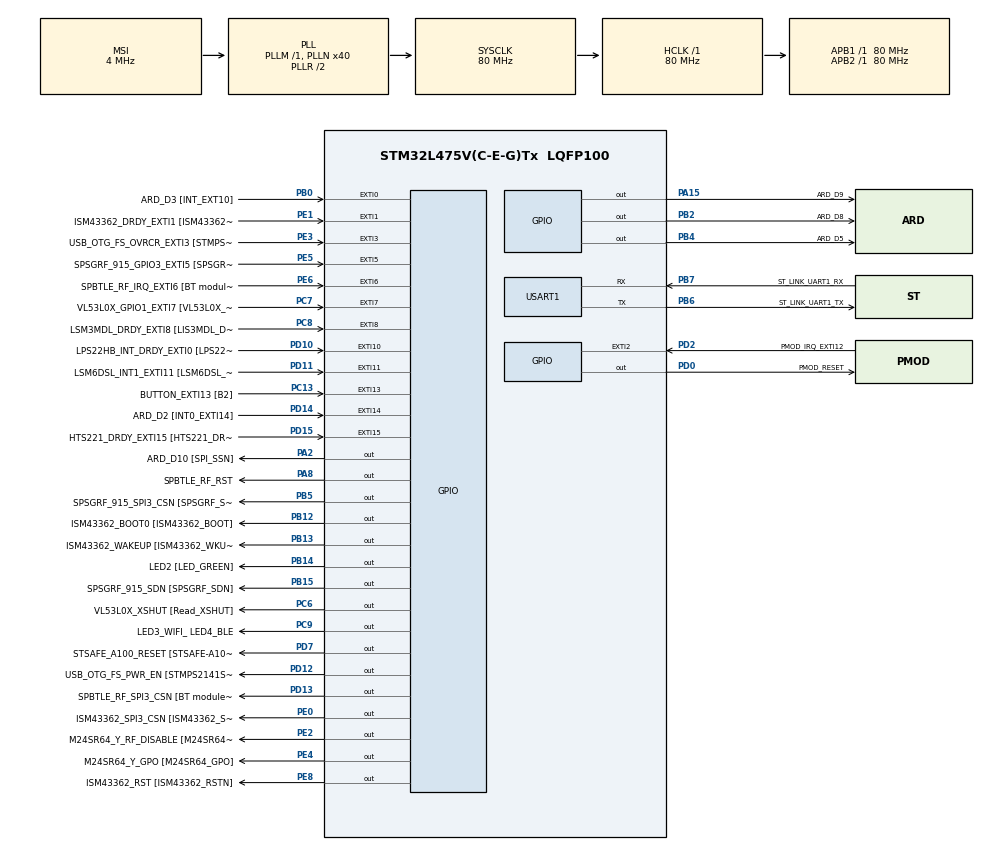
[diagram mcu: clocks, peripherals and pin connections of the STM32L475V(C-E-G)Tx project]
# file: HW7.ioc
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Mcu.Family=STM32L4
Mcu.Name=STM32L475V(C-E-G)Tx
Mcu.Package=LQFP100
NVIC.EXTI15_10_IRQn=true\:0\:0\:false\:false\:true\:true\:true\:true
NVIC.EXTI9_5_IRQn=true\:0\:0\:false\:false\:true\:true\:true\:true
NVIC.PriorityGroup=NVIC_PRIORITYGROUP_4
PA0.GPIO_Label=ARD_D1 [UART4_TX]
PA0.Signal=UART4_TX
PA1.GPIO_Label=ARD_D0 [UART4_RX]
PA1.Signal=UART4_RX
PA10.GPIO_Label=USB_OTG_FS_ID
PA10.Signal=USB_OTG_FS_ID
PA11.GPIO_Label=USB_OTG_FS_DM
PA11.Signal=USB_OTG_FS_DM
PA12.GPIO_Label=USB_OTG_FS_DP
PA12.Signal=USB_OTG_FS_DP
PA13\ (JTMS-SWDIO).GPIO_Label=SYS_JTMS_SWDIO
PA13\ (JTMS-SWDIO).Signal=SYS_JTMS-SWDIO
PA14\ (JTCK-SWCLK).GPIO_Label=SYS_JTCK_SWCLK
PA14\ (JTCK-SWCLK).Signal=SYS_JTCK-SWCLK
PA15\ (JTDI).GPIO_Label=ARD_D9
PA15\ (JTDI).Signal=GPIO_Output
PA2.GPIO_Label=ARD_D10 [SPI_SSN]
PA2.Signal=GPIO_Output
PA3.GPIO_Label=ARD_D4
PA3.Signal=S_TIM2_CH4
PA4.GPIO_Label=ARD_D7
PA4.Signal=ADCx_IN9
PA5.GPIO_Label=ARD_D13 [SPI1_SCK]
PA5.Signal=SPI1_SCK
PA6.GPIO_Label=ARD_D12 [SPI1_MISO]
PA6.Signal=SPI1_MISO
PA7.GPIO_Label=ARD_D11 [SPI1_MOSI]
PA7.Signal=SPI1_MOSI
PA8.GPIO_Label=SPBTLE_RF_RST
PA8.Signal=GPIO_Output
PA9.GPIO_Label=USB_OTG_FS_VBUS [STMPS2141STR_OUT]
PA9.Signal=USB_OTG_FS_VBUS
PB0.GPIO_Label=ARD_D3 [INT_EXT10]
PB0.Signal=GPXTI0
PB1.GPIO_Label=ARD_D6 [ADC1_IN6]
PB1.Signal=ADCx_IN16
PB10.GPIO_Label=INTERNAL_I2C2_SCL [VL53L0X_SCL]
PB10.Signal=I2C2_SCL
PB11.GPIO_Label=INTERNAL_I2C2_SDA [VL53L0X_SDA]
PB11.Signal=I2C2_SDA
PB12.GPIO_Label=ISM43362_BOOT0 [ISM43362_BOOT]
PB12.Signal=GPIO_Output
PB13.GPIO_Label=ISM43362_WAKEUP [ISM43362_WKUP]
PB13.Signal=GPIO_Output
PB14.GPIO_Label=LED2 [LED_GREEN]
PB14.Signal=GPIO_Output
PB15.GPIO_Label=SPSGRF_915_SDN [SPSGRF_SDN]
PB15.Signal=GPIO_Output
PB2.GPIO_Label=ARD_D8
PB2.Signal=GPIO_Output
PB3\ (JTDO-TRACESWO).GPIO_Label=SYS_JTD0_SWO
PB3\ (JTDO-TRACESWO).Signal=SYS_JTDO-SWO
PB4\ (NJTRST).GPIO_Label=ARD_D5
PB4\ (NJTRST).Signal=GPIO_Output
PB5.GPIO_Label=SPSGRF_915_SPI3_CSN [SPSGRF_SPI_CS]
PB5.PinState=GPIO_PIN_SET
PB5.Signal=GPIO_Output
PB6.GPIO_Label=ST_LINK_UART1_TX
PB6.Mode=Asynchronous
PB6.Signal=USART1_TX
PB7.GPIO_Label=ST_LINK_UART1_RX
PB7.Mode=Asynchronous
PB7.Signal=USART1_RX
PB8.GPIO_Label=ARD_D15 [I2C1_SCL]
PB8.Signal=I2C1_SCL
PB9.GPIO_Label=ARD_D14 [I2C1_SDA]
PB9.Signal=I2C1_SDA
PC0.GPIO_Label=ARD_A5 [ADC]
PC0.Signal=ADCx_IN1
PC1.GPIO_Label=ARD_A4 [ADC]
PC1.Signal=ADCx_IN2
PC10.GPIO_Label=INTERNAL_SPI3_SCK [BT module_SPI_SCLK] [ISM43362_SCK]
PC10.Signal=SPI3_SCK
PC11.GPIO_Label=INTERNAL_SPI3_MISO [BT module_SPI_MISO] [ISM43362_MISO]
PC11.Signal=SPI3_MISO
PC12.GPIO_Label=INTERNAL_SPI3_MOSI [BT module_SPI_MOSI] [ISM43362_MOSI]
PC12.Signal=SPI3_MOSI
PC13.GPIO_Label=BUTTON_EXTI13 [B2]
PC13.GPIO_ModeDefaultEXTI=GPIO_MODE_IT_FALLING
PC13.Signal=GPXTI13
PC14-OSC32_IN\ (PC14).Signal=RCC_OSC32_IN
PC15-OSC32_OUT\ (PC15).Signal=RCC_OSC32_OUT
PC2.GPIO_Label=ARD_A3 [ADC]
PC2.Signal=ADCx_IN3
PC3.GPIO_Label=ARD_A2 [ADC]
PC3.Signal=ADCx_IN4
PC4.GPIO_Label=ARD_A1 [ADC]
PC4.Signal=ADCx_IN13
PC5.GPIO_Label=ARD_A0 [ADC]
PC5.Signal=ADCx_IN14
PC6.GPIO_Label=VL53L0X_XSHUT [Read_XSHUT]
PC6.Signal=GPIO_Output
PC7.GPIO_Label=VL53L0X_GPIO1_EXTI7 [VL53L0X_GPIO1]
PC7.Signal=GPXTI7
PC8.GPIO_Label=LSM3MDL_DRDY_EXTI8 [LIS3MDL_DRDY]
PC8.Signal=GPXTI8
PC9.GPIO_Label=LED3_WIFI_ LED4_BLE
PC9.Signal=GPIO_Output
PD0.GPIO_Label=PMOD_RESET
PD0.Signal=GPIO_Output
PD1.GPIO_Label=PMOD_SPI2_SCK
PD1.Signal=SPI2_SCK
PD10.GPIO_Label=LPS22HB_INT_DRDY_EXTI0 [LPS22HB_INT_DRDY] 
PD10.Signal=GPXTI10
PD11.GPIO_Label=LSM6DSL_INT1_EXTI11 [LSM6DSL_INT1]
PD11.Signal=GPXTI11
PD12.GPIO_Label=USB_OTG_FS_PWR_EN [STMPS2141STR_EN]
PD12.Signal=GPIO_Output
PD13.GPIO_Label=SPBTLE_RF_SPI3_CSN [BT module_SPI_CS]
PD13.PinState=GPIO_PIN_SET
PD13.Signal=GPIO_Output
PD14.GPIO_Label=ARD_D2 [INT0_EXTI14]
PD14.Signal=GPXTI14
PD15.GPIO_Label=HTS221_DRDY_EXTI15 [HTS221_DRDY]
PD15.Signal=GPXTI15
PD2.GPIO_Label=PMOD_IRQ_EXTI12
PD2.Signal=GPXTI2
PD3.GPIO_Label=PMOD_UART2_CTS
PD3.Signal=USART2_CTS
PD4.GPIO_Label=PMOD_UART2_RTS
PD4.Signal=USART2_RTS
PD5.GPIO_Label=PMOD_UART2_TX
PD5.Signal=USART2_TX
PD6.GPIO_Label=PMOD_UART2_RX
PD6.Signal=USART2_RX
PD7.GPIO_Label=STSAFE_A100_RESET [STSAFE-A100_RESET]
PD7.Signal=GPIO_Output
PD8.GPIO_Label=INTERNAL_UART3_TX [ISM43362_RX]
PD8.Signal=USART3_TX
PD9.GPIO_Label=INTERNAL_UART3_RX [ISM43362_TX]
PD9.Signal=USART3_RX
PE0.GPIO_Label=ISM43362_SPI3_CSN [ISM43362_SSN]
PE0.PinState=GPIO_PIN_SET
PE0.Signal=GPIO_Output
PE1.GPIO_Label=ISM43362_DRDY_EXTI1 [ISM43362_DATARDY]
PE1.Signal=GPXTI1
PE10.GPIO_Label=QUADSPI_CLK [MX25R6435F_SCLK]
PE10.Signal=QUADSPI_CLK
PE11.GPIO_Label=QUADSPI_NCS [MX25R6435F_SCLK]
PE11.Signal=QUADSPI_NCS
PE12.GPIO_Label=OQUADSPI_BK1_IO0 [MX25R6435F_IO0]
PE12.Signal=QUADSPI_BK1_IO0
PE13.GPIO_Label=QUADSPI_BK1_IO1 [MX25R6435F_IO1]
PE13.Signal=QUADSPI_BK1_IO1
PE14.GPIO_Label=QUAD_SPI_BK1_IO2 [MX25R6435F_IO2]
PE14.Signal=QUADSPI_BK1_IO2
PE15.GPIO_Label=QUAD_SPI_BK1_IO3 [MX25R6435F_IO3]
PE15.Signal=QUADSPI_BK1_IO3
PE2.GPIO_Label=M24SR64_Y_RF_DISABLE [M24SR64_RFDIS]
PE2.Signal=GPIO_Output
PE3.GPIO_Label=USB_OTG_FS_OVRCR_EXTI3 [STMPS2141STR_FAULT]
PE3.Signal=GPXTI3
PE4.GPIO_Label=M24SR64_Y_GPO [M24SR64_GPO]
PE4.Signal=GPIO_Output
PE5.GPIO_Label=SPSGRF_915_GPIO3_EXTI5 [SPSGRF_GPIO_3]
PE5.Signal=GPXTI5
PE6.GPIO_Label=SPBTLE_RF_IRQ_EXTI6 [BT module_SPI_IRQ]
PE6.Signal=GPXTI6
PE7.GPIO_Label=DFSDM1_DATIN2 [MP34DT01_DOUT]
PE7.Signal=S_DATAIN2DFSDM1
PE8.GPIO_Label=ISM43362_RST [ISM43362_RSTN]
PE8.Signal=GPIO_Output
PE9.GPIO_Label=DFSDM1_CKOUT [MP34DT01_CLK]
PE9.Signal=S_CKOUTDFSDM1
ProjectManager.HeapSize=0x200
ProjectManager.StackSize=0x400
ProjectManager.TargetToolchain=STM32CubeIDE
RCC.ADCFreq_Value=48000000
RCC.AHBFreq_Value=80000000
RCC.APB1Freq_Value=80000000
RCC.APB1TimFreq_Value=80000000
RCC.APB2Freq_Value=80000000
RCC.APB2TimFreq_Value=80000000
RCC.CortexFreq_Value=80000000
RCC.HCLKFreq_Value=80000000
RCC.HSE_VALUE=8000000
RCC.HSI_VALUE=16000000
RCC.LSE_VALUE=32768
RCC.MSI_VALUE=4000000
RCC.PLLN=40
RCC.PLLSAI1N=24
RCC.SYSCLKFreq_VALUE=80000000
RCC.SYSCLKSource=RCC_SYSCLKSOURCE_PLLCLK
RCC.USBFreq_Value=48000000
RCC.VCOOutputFreq_Value=160000000
SH.ADCx_IN1.0=ADC1_IN1
SH.ADCx_IN13.0=ADC1_IN13
SH.ADCx_IN14.0=ADC1_IN14
SH.ADCx_IN16.0=ADC1_IN16
SH.ADCx_IN2.0=ADC1_IN2
SH.ADCx_IN3.0=ADC1_IN3
SH.ADCx_IN4.0=ADC1_IN4
SH.ADCx_IN9.0=ADC1_IN9
SH.S_CKOUTDFSDM1.0=DFSDM1_CKOUT
SH.S_DATAIN2DFSDM1.0=DFSDM1_DATIN2
SH.S_TIM2_CH4.0=TIM2_CH4
USART1.VirtualMode-Asynchronous=VM_ASYNC
board=B-L475E-IOT01A1

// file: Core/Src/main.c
/* USER CODE BEGIN Header */
/**
  ******************************************************************************
  * @file           : main.c
  * @brief          : Main program body
  ******************************************************************************
  * @attention
  *
  * Copyright (c) 2024 STMicroelectronics.
  * All rights reserved.
  *
  * This software is licensed under terms that can be found in the LICENSE file
  * in the root directory of this software component.
  * If no LICENSE file comes with this software, it is provided AS-IS.
  *
  ******************************************************************************
  */
/* USER CODE END Header */
#include "main.h"
#include "math_helper.h"

#define TEST_LENGTH_SAMPLES  320
#define SNR_THRESHOLD_F32    140.0f
#define BLOCK_SIZE            32
#define NUM_TAPS              29

/* USER CODE BEGIN Includes */
extern float32_t testInput_f32_1kHz_15kHz[TEST_LENGTH_SAMPLES];
extern float32_t refOutput[TEST_LENGTH_SAMPLES];

static float32_t testOutput[TEST_LENGTH_SAMPLES];

/* -------------------------------------------------------------------
 * Declare State buffer of size (numTaps + blockSize - 1)
 * ------------------------------------------------------------------- */

static float32_t firStateF32[BLOCK_SIZE + NUM_TAPS - 1];

/* ----------------------------------------------------------------------
** FIR Coefficients buffer generated using fir1() MATLAB function.
** fir1(28, 6/24)
** ------------------------------------------------------------------- */

const float32_t firCoeffs32[NUM_TAPS] = {
  -0.0018225230f, -0.0015879294f, +0.0000000000f, +0.0036977508f, +0.0080754303f, +0.0085302217f, -0.0000000000f, -0.0173976984f,
  -0.0341458607f, -0.0333591565f, +0.0000000000f, +0.0676308395f, +0.1522061835f, +0.2229246956f, +0.2504960933f, +0.2229246956f,
  +0.1522061835f, +0.0676308395f, +0.0000000000f, -0.0333591565f, -0.0341458607f, -0.0173976984f, -0.0000000000f, +0.0085302217f,
  +0.0080754303f, +0.0036977508f, +0.0000000000f, -0.0015879294f, -0.0018225230f
};

/* ------------------------------------------------------------------
 * Global variables for FIR LPF Example
 * ------------------------------------------------------------------- */

uint32_t blockSize = BLOCK_SIZE;
uint32_t numBlocks = TEST_LENGTH_SAMPLES/BLOCK_SIZE;

float32_t  snr;
/* USER CODE END Includes */

UART_HandleTypeDef huart1;

/* USER CODE BEGIN PV */
int __io_putchar(int ch)
{
	HAL_UART_Transmit(&huart1, (uint8_t *)&ch, 1, 0xFFFF);
	return ch;
}

/* USER CODE END PV */

void SystemClock_Config(void);
static void MX_GPIO_Init(void);
static void MX_USART1_UART_Init(void);

int main(void)
{

  /* MCU Configuration--------------------------------------------------------*/

  /* Reset of all peripherals, Initializes the Flash interface and the Systick. */
  HAL_Init();

  /* Configure the system clock */
  SystemClock_Config();

  /* Initialize all configured peripherals */
  MX_GPIO_Init();
  MX_USART1_UART_Init();
  /* USER CODE BEGIN 2 */
  BSP_ACCELERO_Init();
  int16_t accel_data[3] ; // Array to hold X, Y, Z data
  int16_t *pDataXYZ = accel_data;
  float32_t input[320] = {0};
  float32_t *input_ptr;
  for(int i = 0; i < 320; i++){
	  BSP_ACCELERO_AccGetXYZ(pDataXYZ);
	  input[i] = accel_data[0];
//printf("%f", input[i]);
	  HAL_Delay(10);
  }
  input_ptr = &input;
  uint32_t i;
  arm_fir_instance_f32 S;
  arm_status status;
  float32_t  *inputF32, *outputF32;

    /* Initialize input and output buffer pointers */
  inputF32 = &testInput_f32_1kHz_15kHz[0];
  outputF32 = &testOutput[0];

    /* Call FIR init function to initialize the instance structure. */
  arm_fir_init_f32(&S, NUM_TAPS, (float32_t *)&firCoeffs32[0], &firStateF32[0], blockSize);

  for(i=0; i < numBlocks; i++)
    {
      arm_fir_f32(&S, input_ptr + (i * blockSize), outputF32 + (i * blockSize), blockSize);
    }
  printf("success");
  for(int i = 0; i<320; i++){
	  printf("%f\n",testOutput[i]);
	  printf("\n%d", i);
  }
  printf("finished");
  while(1);
    /* ----------------------------------------------------------------------
    ** Compare the generated output against the reference output computed
    ** in MATLAB.
    ** ------------------------------------------------------------------- */

    snr = arm_snr_f32(&refOutput[0], &testOutput[0], TEST_LENGTH_SAMPLES);

    if (snr < SNR_THRESHOLD_F32)
    {
      status = ARM_MATH_TEST_FAILURE;
      printf("failed");
    }
    else
    {
      status = ARM_MATH_SUCCESS;
      printf("success");

    }

    /* ----------------------------------------------------------------------
    ** Loop here if the signal does not match the reference output.
    ** ------------------------------------------------------------------- */

    if ( status != ARM_MATH_SUCCESS)
    {
      while (1);
    }
  /* USER CODE END 2 */

  /* Infinite loop */
  while (1)
  {

  }
}

void SystemClock_Config(void)
{
  RCC_OscInitTypeDef RCC_OscInitStruct = {0};
  RCC_ClkInitTypeDef RCC_ClkInitStruct = {0};

  /** Configure the main internal regulator output voltage
  */
  if (HAL_PWREx_ControlVoltageScaling(PWR_REGULATOR_VOLTAGE_SCALE1) != HAL_OK)
  {
    Error_Handler();
  }

  /** Initializes the RCC Oscillators according to the specified parameters
  * in the RCC_OscInitTypeDef structure.
  */
  RCC_OscInitStruct.OscillatorType = RCC_OSCILLATORTYPE_MSI;
  RCC_OscInitStruct.MSIState = RCC_MSI_ON;
  RCC_OscInitStruct.MSICalibrationValue = 0;
  RCC_OscInitStruct.MSIClockRange = RCC_MSIRANGE_6;
  RCC_OscInitStruct.PLL.PLLState = RCC_PLL_ON;
  RCC_OscInitStruct.PLL.PLLSource = RCC_PLLSOURCE_MSI;
  RCC_OscInitStruct.PLL.PLLM = 1;
  RCC_OscInitStruct.PLL.PLLN = 40;
  RCC_OscInitStruct.PLL.PLLP = RCC_PLLP_DIV7;
  RCC_OscInitStruct.PLL.PLLQ = RCC_PLLQ_DIV2;
  RCC_OscInitStruct.PLL.PLLR = RCC_PLLR_DIV2;
  if (HAL_RCC_OscConfig(&RCC_OscInitStruct) != HAL_OK)
  {
    Error_Handler();
  }

  /** Initializes the CPU, AHB and APB buses clocks
  */
  RCC_ClkInitStruct.ClockType = RCC_CLOCKTYPE_HCLK|RCC_CLOCKTYPE_SYSCLK
                              |RCC_CLOCKTYPE_PCLK1|RCC_CLOCKTYPE_PCLK2;
  RCC_ClkInitStruct.SYSCLKSource = RCC_SYSCLKSOURCE_PLLCLK;
  RCC_ClkInitStruct.AHBCLKDivider = RCC_SYSCLK_DIV1;
  RCC_ClkInitStruct.APB1CLKDivider = RCC_HCLK_DIV1;
  RCC_ClkInitStruct.APB2CLKDivider = RCC_HCLK_DIV1;

  if (HAL_RCC_ClockConfig(&RCC_ClkInitStruct, FLASH_LATENCY_4) != HAL_OK)
  {
    Error_Handler();
  }
}

static void MX_USART1_UART_Init(void)
{

  huart1.Instance = USART1;
  huart1.Init.BaudRate = 115200;
  huart1.Init.WordLength = UART_WORDLENGTH_8B;
  huart1.Init.StopBits = UART_STOPBITS_1;
  huart1.Init.Parity = UART_PARITY_NONE;
  huart1.Init.Mode = UART_MODE_TX_RX;
  huart1.Init.HwFlowCtl = UART_HWCONTROL_NONE;
  huart1.Init.OverSampling = UART_OVERSAMPLING_16;
  huart1.Init.OneBitSampling = UART_ONE_BIT_SAMPLE_DISABLE;
  huart1.AdvancedInit.AdvFeatureInit = UART_ADVFEATURE_NO_INIT;
  if (HAL_UART_Init(&huart1) != HAL_OK)
  {
    Error_Handler();
  }

}

static void MX_GPIO_Init(void)
{
  GPIO_InitTypeDef GPIO_InitStruct = {0};

  /* GPIO Ports Clock Enable */
  __HAL_RCC_GPIOE_CLK_ENABLE();
  __HAL_RCC_GPIOC_CLK_ENABLE();
  __HAL_RCC_GPIOA_CLK_ENABLE();
  __HAL_RCC_GPIOB_CLK_ENABLE();
  __HAL_RCC_GPIOD_CLK_ENABLE();

  /*Configure GPIO pin Output Level */
  HAL_GPIO_WritePin(GPIOE, M24SR64_Y_RF_DISABLE_Pin|M24SR64_Y_GPO_Pin|ISM43362_RST_Pin, GPIO_PIN_RESET);

  /*Configure GPIO pin Output Level */
  HAL_GPIO_WritePin(GPIOA, ARD_D10_Pin|SPBTLE_RF_RST_Pin|ARD_D9_Pin, GPIO_PIN_RESET);

  /*Configure GPIO pin Output Level */
  HAL_GPIO_WritePin(GPIOB, ARD_D8_Pin|ISM43362_BOOT0_Pin|ISM43362_WAKEUP_Pin|LED2_Pin
                          |SPSGRF_915_SDN_Pin|ARD_D5_Pin, GPIO_PIN_RESET);

  /*Configure GPIO pin Output Level */
  HAL_GPIO_WritePin(GPIOD, USB_OTG_FS_PWR_EN_Pin|PMOD_RESET_Pin|STSAFE_A100_RESET_Pin, GPIO_PIN_RESET);

  /*Configure GPIO pin Output Level */
  HAL_GPIO_WritePin(SPBTLE_RF_SPI3_CSN_GPIO_Port, SPBTLE_RF_SPI3_CSN_Pin, GPIO_PIN_SET);

  /*Configure GPIO pin Output Level */
  HAL_GPIO_WritePin(GPIOC, VL53L0X_XSHUT_Pin|LED3_WIFI__LED4_BLE_Pin, GPIO_PIN_RESET);

  /*Configure GPIO pin Output Level */
  HAL_GPIO_WritePin(SPSGRF_915_SPI3_CSN_GPIO_Port, SPSGRF_915_SPI3_CSN_Pin, GPIO_PIN_SET);

  /*Configure GPIO pin Output Level */
  HAL_GPIO_WritePin(ISM43362_SPI3_CSN_GPIO_Port, ISM43362_SPI3_CSN_Pin, GPIO_PIN_SET);

  /*Configure GPIO pins : M24SR64_Y_RF_DISABLE_Pin M24SR64_Y_GPO_Pin ISM43362_RST_Pin ISM43362_SPI3_CSN_Pin */
  GPIO_InitStruct.Pin = M24SR64_Y_RF_DISABLE_Pin|M24SR64_Y_GPO_Pin|ISM43362_RST_Pin|ISM43362_SPI3_CSN_Pin;
  GPIO_InitStruct.Mode = GPIO_MODE_OUTPUT_PP;
  GPIO_InitStruct.Pull = GPIO_NOPULL;
  GPIO_InitStruct.Speed = GPIO_SPEED_FREQ_LOW;
  HAL_GPIO_Init(GPIOE, &GPIO_InitStruct);

  /*Configure GPIO pins : USB_OTG_FS_OVRCR_EXTI3_Pin SPSGRF_915_GPIO3_EXTI5_Pin SPBTLE_RF_IRQ_EXTI6_Pin ISM43362_DRDY_EXTI1_Pin */
  GPIO_InitStruct.Pin = USB_OTG_FS_OVRCR_EXTI3_Pin|SPSGRF_915_GPIO3_EXTI5_Pin|SPBTLE_RF_IRQ_EXTI6_Pin|ISM43362_DRDY_EXTI1_Pin;
  GPIO_InitStruct.Mode = GPIO_MODE_IT_RISING;
  GPIO_InitStruct.Pull = GPIO_NOPULL;
  HAL_GPIO_Init(GPIOE, &GPIO_InitStruct);

  /*Configure GPIO pin : BUTTON_EXTI13_Pin */
  GPIO_InitStruct.Pin = BUTTON_EXTI13_Pin;
  GPIO_InitStruct.Mode = GPIO_MODE_IT_FALLING;
  GPIO_InitStruct.Pull = GPIO_NOPULL;
  HAL_GPIO_Init(BUTTON_EXTI13_GPIO_Port, &GPIO_InitStruct);

  /*Configure GPIO pins : ARD_A5_Pin ARD_A4_Pin ARD_A3_Pin ARD_A2_Pin
                           ARD_A1_Pin ARD_A0_Pin */
  GPIO_InitStruct.Pin = ARD_A5_Pin|ARD_A4_Pin|ARD_A3_Pin|ARD_A2_Pin
                          |ARD_A1_Pin|ARD_A0_Pin;
  GPIO_InitStruct.Mode = GPIO_MODE_ANALOG_ADC_CONTROL;
  GPIO_InitStruct.Pull = GPIO_NOPULL;
  HAL_GPIO_Init(GPIOC, &GPIO_InitStruct);

  /*Configure GPIO pins : ARD_D1_Pin ARD_D0_Pin */
  GPIO_InitStruct.Pin = ARD_D1_Pin|ARD_D0_Pin;
  GPIO_InitStruct.Mode = GPIO_MODE_AF_PP;
  GPIO_InitStruct.Pull = GPIO_NOPULL;
  GPIO_InitStruct.Speed = GPIO_SPEED_FREQ_VERY_HIGH;
  GPIO_InitStruct.Alternate = GPIO_AF8_UART4;
  HAL_GPIO_Init(GPIOA, &GPIO_InitStruct);

  /*Configure GPIO pins : ARD_D10_Pin SPBTLE_RF_RST_Pin ARD_D9_Pin */
  GPIO_InitStruct.Pin = ARD_D10_Pin|SPBTLE_RF_RST_Pin|ARD_D9_Pin;
  GPIO_InitStruct.Mode = GPIO_MODE_OUTPUT_PP;
  GPIO_InitStruct.Pull = GPIO_NOPULL;
  GPIO_InitStruct.Speed = GPIO_SPEED_FREQ_LOW;
  HAL_GPIO_Init(GPIOA, &GPIO_InitStruct);

  /*Configure GPIO pin : ARD_D4_Pin */
  GPIO_InitStruct.Pin = ARD_D4_Pin;
  GPIO_InitStruct.Mode = GPIO_MODE_AF_PP;
  GPIO_InitStruct.Pull = GPIO_NOPULL;
  GPIO_InitStruct.Speed = GPIO_SPEED_FREQ_LOW;
  GPIO_InitStruct.Alternate = GPIO_AF1_TIM2;
  HAL_GPIO_Init(ARD_D4_GPIO_Port, &GPIO_InitStruct);

  /*Configure GPIO pin : ARD_D7_Pin */
  GPIO_InitStruct.Pin = ARD_D7_Pin;
  GPIO_InitStruct.Mode = GPIO_MODE_ANALOG_ADC_CONTROL;
  GPIO_InitStruct.Pull = GPIO_NOPULL;
  HAL_GPIO_Init(ARD_D7_GPIO_Port, &GPIO_InitStruct);

  /*Configure GPIO pins : ARD_D13_Pin ARD_D12_Pin ARD_D11_Pin */
  GPIO_InitStruct.Pin = ARD_D13_Pin|ARD_D12_Pin|ARD_D11_Pin;
  GPIO_InitStruct.Mode = GPIO_MODE_AF_PP;
  GPIO_InitStruct.Pull = GPIO_NOPULL;
  GPIO_InitStruct.Speed = GPIO_SPEED_FREQ_VERY_HIGH;
  GPIO_InitStruct.Alternate = GPIO_AF5_SPI1;
  HAL_GPIO_Init(GPIOA, &GPIO_InitStruct);

  /*Configure GPIO pin : ARD_D3_Pin */
  GPIO_InitStruct.Pin = ARD_D3_Pin;
  GPIO_InitStruct.Mode = GPIO_MODE_IT_RISING;
  GPIO_InitStruct.Pull = GPIO_NOPULL;
  HAL_GPIO_Init(ARD_D3_GPIO_Port, &GPIO_InitStruct);

  /*Configure GPIO pin : ARD_D6_Pin */
  GPIO_InitStruct.Pin = ARD_D6_Pin;
  GPIO_InitStruct.Mode = GPIO_MODE_ANALOG_ADC_CONTROL;
  GPIO_InitStruct.Pull = GPIO_NOPULL;
  HAL_GPIO_Init(ARD_D6_GPIO_Port, &GPIO_InitStruct);

  /*Configure GPIO pins : ARD_D8_Pin ISM43362_BOOT0_Pin ISM43362_WAKEUP_Pin LED2_Pin
                           SPSGRF_915_SDN_Pin ARD_D5_Pin SPSGRF_915_SPI3_CSN_Pin */
  GPIO_InitStruct.Pin = ARD_D8_Pin|ISM43362_BOOT0_Pin|ISM43362_WAKEUP_Pin|LED2_Pin
                          |SPSGRF_915_SDN_Pin|ARD_D5_Pin|SPSGRF_915_SPI3_CSN_Pin;
  GPIO_InitStruct.Mode = GPIO_MODE_OUTPUT_PP;
  GPIO_InitStruct.Pull = GPIO_NOPULL;
  GPIO_InitStruct.Speed = GPIO_SPEED_FREQ_LOW;
  HAL_GPIO_Init(GPIOB, &GPIO_InitStruct);

  /*Configure GPIO pins : DFSDM1_DATIN2_Pin DFSDM1_CKOUT_Pin */
  GPIO_InitStruct.Pin = DFSDM1_DATIN2_Pin|DFSDM1_CKOUT_Pin;
  GPIO_InitStruct.Mode = GPIO_MODE_AF_PP;
  GPIO_InitStruct.Pull = GPIO_NOPULL;
  GPIO_InitStruct.Speed = GPIO_SPEED_FREQ_LOW;
  GPIO_InitStruct.Alternate = GPIO_AF6_DFSDM1;
  HAL_GPIO_Init(GPIOE, &GPIO_InitStruct);

  /*Configure GPIO pins : QUADSPI_CLK_Pin QUADSPI_NCS_Pin OQUADSPI_BK1_IO0_Pin QUADSPI_BK1_IO1_Pin
                           QUAD_SPI_BK1_IO2_Pin QUAD_SPI_BK1_IO3_Pin */
  GPIO_InitStruct.Pin = QUADSPI_CLK_Pin|QUADSPI_NCS_Pin|OQUADSPI_BK1_IO0_Pin|QUADSPI_BK1_IO1_Pin
                          |QUAD_SPI_BK1_IO2_Pin|QUAD_SPI_BK1_IO3_Pin;
  GPIO_InitStruct.Mode = GPIO_MODE_AF_PP;
  GPIO_InitStruct.Pull = GPIO_NOPULL;
  GPIO_InitStruct.Speed = GPIO_SPEED_FREQ_VERY_HIGH;
  GPIO_InitStruct.Alternate = GPIO_AF10_QUADSPI;
  HAL_GPIO_Init(GPIOE, &GPIO_InitStruct);

  /*Configure GPIO pins : INTERNAL_I2C2_SCL_Pin INTERNAL_I2C2_SDA_Pin */
  GPIO_InitStruct.Pin = INTERNAL_I2C2_SCL_Pin|INTERNAL_I2C2_SDA_Pin;
  GPIO_InitStruct.Mode = GPIO_MODE_AF_OD;
  GPIO_InitStruct.Pull = GPIO_NOPULL;
  GPIO_InitStruct.Speed = GPIO_SPEED_FREQ_VERY_HIGH;
  GPIO_InitStruct.Alternate = GPIO_AF4_I2C2;
  HAL_GPIO_Init(GPIOB, &GPIO_InitStruct);

  /*Configure GPIO pins : INTERNAL_UART3_TX_Pin INTERNAL_UART3_RX_Pin */
  GPIO_InitStruct.Pin = INTERNAL_UART3_TX_Pin|INTERNAL_UART3_RX_Pin;
  GPIO_InitStruct.Mode = GPIO_MODE_AF_PP;
  GPIO_InitStruct.Pull = GPIO_NOPULL;
  GPIO_InitStruct.Speed = GPIO_SPEED_FREQ_VERY_HIGH;
  GPIO_InitStruct.Alternate = GPIO_AF7_USART3;
  HAL_GPIO_Init(GPIOD, &GPIO_InitStruct);

  /*Configure GPIO pins : LPS22HB_INT_DRDY_EXTI0_Pin LSM6DSL_INT1_EXTI11_Pin ARD_D2_Pin HTS221_DRDY_EXTI15_Pin
                           PMOD_IRQ_EXTI12_Pin */
  GPIO_InitStruct.Pin = LPS22HB_INT_DRDY_EXTI0_Pin|LSM6DSL_INT1_EXTI11_Pin|ARD_D2_Pin|HTS221_DRDY_EXTI15_Pin
                          |PMOD_IRQ_EXTI12_Pin;
  GPIO_InitStruct.Mode = GPIO_MODE_IT_RISING;
  GPIO_InitStruct.Pull = GPIO_NOPULL;
  HAL_GPIO_Init(GPIOD, &GPIO_InitStruct);

  /*Configure GPIO pins : USB_OTG_FS_PWR_EN_Pin SPBTLE_RF_SPI3_CSN_Pin PMOD_RESET_Pin STSAFE_A100_RESET_Pin */
  GPIO_InitStruct.Pin = USB_OTG_FS_PWR_EN_Pin|SPBTLE_RF_SPI3_CSN_Pin|PMOD_RESET_Pin|STSAFE_A100_RESET_Pin;
  GPIO_InitStruct.Mode = GPIO_MODE_OUTPUT_PP;
  GPIO_InitStruct.Pull = GPIO_NOPULL;
  GPIO_InitStruct.Speed = GPIO_SPEED_FREQ_LOW;
  HAL_GPIO_Init(GPIOD, &GPIO_InitStruct);

  /*Configure GPIO pins : VL53L0X_XSHUT_Pin LED3_WIFI__LED4_BLE_Pin */
  GPIO_InitStruct.Pin = VL53L0X_XSHUT_Pin|LED3_WIFI__LED4_BLE_Pin;
  GPIO_InitStruct.Mode = GPIO_MODE_OUTPUT_PP;
  GPIO_InitStruct.Pull = GPIO_NOPULL;
  GPIO_InitStruct.Speed = GPIO_SPEED_FREQ_LOW;
  HAL_GPIO_Init(GPIOC, &GPIO_InitStruct);

  /*Configure GPIO pins : VL53L0X_GPIO1_EXTI7_Pin LSM3MDL_DRDY_EXTI8_Pin */
  GPIO_InitStruct.Pin = VL53L0X_GPIO1_EXTI7_Pin|LSM3MDL_DRDY_EXTI8_Pin;
  GPIO_InitStruct.Mode = GPIO_MODE_IT_RISING;
  GPIO_InitStruct.Pull = GPIO_NOPULL;
  HAL_GPIO_Init(GPIOC, &GPIO_InitStruct);

  /*Configure GPIO pin : USB_OTG_FS_VBUS_Pin */
  GPIO_InitStruct.Pin = USB_OTG_FS_VBUS_Pin;
  GPIO_InitStruct.Mode = GPIO_MODE_INPUT;
  GPIO_InitStruct.Pull = GPIO_NOPULL;
  HAL_GPIO_Init(USB_OTG_FS_VBUS_GPIO_Port, &GPIO_InitStruct);

  /*Configure GPIO pins : USB_OTG_FS_ID_Pin USB_OTG_FS_DM_Pin USB_OTG_FS_DP_Pin */
  GPIO_InitStruct.Pin = USB_OTG_FS_ID_Pin|USB_OTG_FS_DM_Pin|USB_OTG_FS_DP_Pin;
  GPIO_InitStruct.Mode = GPIO_MODE_AF_PP;
  GPIO_InitStruct.Pull = GPIO_NOPULL;
  GPIO_InitStruct.Speed = GPIO_SPEED_FREQ_VERY_HIGH;
  GPIO_InitStruct.Alternate = GPIO_AF10_OTG_FS;
  HAL_GPIO_Init(GPIOA, &GPIO_InitStruct);

  /*Configure GPIO pins : INTERNAL_SPI3_SCK_Pin INTERNAL_SPI3_MISO_Pin INTERNAL_SPI3_MOSI_Pin */
  GPIO_InitStruct.Pin = INTERNAL_SPI3_SCK_Pin|INTERNAL_SPI3_MISO_Pin|INTERNAL_SPI3_MOSI_Pin;
  GPIO_InitStruct.Mode = GPIO_MODE_AF_PP;
  GPIO_InitStruct.Pull = GPIO_NOPULL;
  GPIO_InitStruct.Speed = GPIO_SPEED_FREQ_VERY_HIGH;
  GPIO_InitStruct.Alternate = GPIO_AF6_SPI3;
  HAL_GPIO_Init(GPIOC, &GPIO_InitStruct);

  /*Configure GPIO pin : PMOD_SPI2_SCK_Pin */
  GPIO_InitStruct.Pin = PMOD_SPI2_SCK_Pin;
  GPIO_InitStruct.Mode = GPIO_MODE_AF_PP;
  GPIO_InitStruct.Pull = GPIO_NOPULL;
  GPIO_InitStruct.Speed = GPIO_SPEED_FREQ_VERY_HIGH;
  GPIO_InitStruct.Alternate = GPIO_AF5_SPI2;
  HAL_GPIO_Init(PMOD_SPI2_SCK_GPIO_Port, &GPIO_InitStruct);

  /*Configure GPIO pins : PMOD_UART2_CTS_Pin PMOD_UART2_RTS_Pin PMOD_UART2_TX_Pin PMOD_UART2_RX_Pin */
  GPIO_InitStruct.Pin = PMOD_UART2_CTS_Pin|PMOD_UART2_RTS_Pin|PMOD_UART2_TX_Pin|PMOD_UART2_RX_Pin;
  GPIO_InitStruct.Mode = GPIO_MODE_AF_PP;
  GPIO_InitStruct.Pull = GPIO_NOPULL;
  GPIO_InitStruct.Speed = GPIO_SPEED_FREQ_VERY_HIGH;
  GPIO_InitStruct.Alternate = GPIO_AF7_USART2;
  HAL_GPIO_Init(GPIOD, &GPIO_InitStruct);

  /*Configure GPIO pins : ARD_D15_Pin ARD_D14_Pin */
  GPIO_InitStruct.Pin = ARD_D15_Pin|ARD_D14_Pin;
  GPIO_InitStruct.Mode = GPIO_MODE_AF_OD;
  GPIO_InitStruct.Pull = GPIO_NOPULL;
  GPIO_InitStruct.Speed = GPIO_SPEED_FREQ_VERY_HIGH;
  GPIO_InitStruct.Alternate = GPIO_AF4_I2C1;
  HAL_GPIO_Init(GPIOB, &GPIO_InitStruct);

  /* EXTI interrupt init*/
  HAL_NVIC_SetPriority(EXTI9_5_IRQn, 0, 0);
  HAL_NVIC_EnableIRQ(EXTI9_5_IRQn);

  HAL_NVIC_SetPriority(EXTI15_10_IRQn, 0, 0);
  HAL_NVIC_EnableIRQ(EXTI15_10_IRQn);

}

void Error_Handler(void)
{
  __disable_irq();
  while (1)
  {
  }
}
